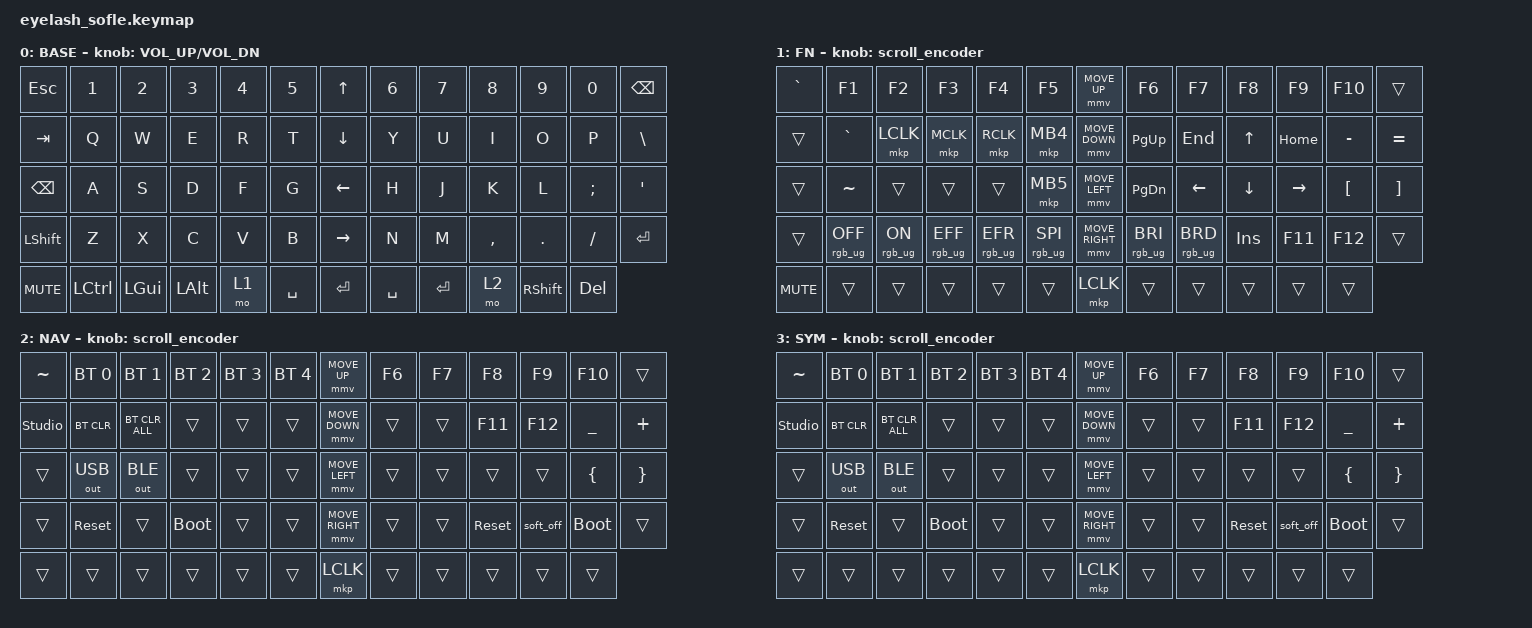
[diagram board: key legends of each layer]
#include <behaviors.dtsi>
#include <dt-bindings/zmk/bt.h>
#include <dt-bindings/zmk/keys.h>
#include <dt-bindings/zmk/mouse.h>
#include <dt-bindings/zmk/outputs.h>
#include <dt-bindings/zmk/rgb.h>

#include <input/processors.dtsi>

/*

   &mmv_input_listener {
       input-processors = <&zip_xy_scaler 2 1>;
   };

   &msc_input_listener {
       input-processors = <&zip_xy_scaler 2 1>;
   };

 */

#define ZMK_MOUSE_DEFAULT_MOVE_VAL 1200  // 600
#define ZMK_MOUSE_DEFAULT_SCRL_VAL 20    // 10


/ {
    behaviors {
        mmv {
            acceleration-exponent = <1>;      // 1
            time-to-max-speed-ms = <900>;    // 40
            delay-ms = <0>;                   // 0
        };

        msc {
            acceleration-exponent = <1>;      // 0
            time-to-max-speed-ms = <400>;      // 500
            delay-ms = <0>;                   //   10
        };

        hml: home_row_mod_left {
            compatible = "zmk,behavior-hold-tap";
            #binding-cells = <2>;
            flavor = "balanced";
            require-prior-idle-ms = <150>;
            tapping-term-ms = <280>;
            quick-tap-ms = <175>;
            bindings = <&kp>, <&kp>;
            hold-trigger-key-positions = <59 60 61 62 63 7 8 9 10 11 12 20 21 22 23 24 25 33 34 35 36 37 38 46 47 48 49 10 11 12 23 24 25 36 37 38 49 50 51 63>;
            hold-trigger-on-release;
        };
        hmr: home_row_mod_right {
            compatible = "zmk,behavior-hold-tap";
            #binding-cells = <2>;
            flavor = "balanced";
            require-prior-idle-ms = <150>;
            tapping-term-ms = <280>;
            quick-tap-ms = <175>;
            bindings = <&kp>, <&kp>;
            hold-trigger-key-positions = <0 1 2 3 4 5 13 14 15 16 17 18 26 27 28 29 30 31 39 40 41 42 43 44 53 54 55 56 57>;
            hold-trigger-on-release;
        };        
    };

    scroll_encoder: scroll_encoder {
        compatible = "zmk,behavior-sensor-rotate";
        #sensor-binding-cells = <0>;
        bindings = <&msc SCRL_DOWN>, <&msc SCRL_UP>;

        tap-ms = <30>;
    };

    keymap {
        compatible = "zmk,keymap";

        layer0 {
            bindings = <
&kp ESC     &kp N1     &kp N2        &kp N3        &kp N4  &kp N5       &kp UP_ARROW     &kp N6     &kp N7     &kp N8     &kp N9           &kp N0      &kp BACKSPACE
&kp TAB     &kp Q      &kp W         &kp E         &kp R   &kp T        &kp DOWN_ARROW   &kp Y      &kp U      &kp I      &kp O            &kp P       &kp BSLH
&kp BSPC    &kp A      &kp S         &kp D         &kp F   &kp G        &kp LEFT_ARROW   &kp H      &kp J      &kp K      &kp L            &kp SEMI    &kp APOS
&kp LSHFT   &kp Z      &kp X         &kp C         &kp V   &kp B        &kp RIGHT_ARROW  &kp N      &kp M      &kp COMMA  &kp DOT          &kp FSLH    &kp ENTER
&kp C_MUTE  &kp LCTRL  &kp LEFT_GUI  &kp LEFT_ALT  &mo 1   &kp SPACE    &kp ENTER        &kp SPACE  &kp ENTER  &mo 2      &kp RIGHT_SHIFT  &kp DELETE
            >;

            sensor-bindings = <&inc_dec_kp C_VOLUME_UP C_VOL_DN>;
            display-name = "BASE";
        };

        layer_1 {
            bindings = <
&kp GRAVE   &kp F1           &kp F2          &kp F3           &kp F4           &kp F5             &mmv MOVE_UP     &kp F6           &kp F7           &kp F8      &kp F9     &kp F10           &trans
&trans      &kp GRAVE        &mkp LCLK       &mkp MCLK        &mkp RCLK        &mkp MB4           &mmv MOVE_DOWN   &kp PG_UP        &kp END          &kp UP      &kp HOME   &kp MINUS         &kp EQUAL
&trans      &kp TILDE        &trans          &trans           &trans           &mkp MB5           &mmv MOVE_LEFT   &kp PG_DN        &kp LEFT         &kp DOWN    &kp RIGHT  &kp LEFT_BRACKET  &kp RIGHT_BRACKET
&trans      &rgb_ug RGB_OFF  &rgb_ug RGB_ON  &rgb_ug RGB_EFF  &rgb_ug RGB_EFR  &rgb_ug RGB_SPI    &mmv MOVE_RIGHT  &rgb_ug RGB_BRI  &rgb_ug RGB_BRD  &kp INSERT  &kp F11    &kp F12           &trans
&kp C_MUTE  &trans           &trans          &trans           &trans           &trans             &mkp LCLK        &trans           &trans           &trans      &trans     &trans
            >;

            display-name = "FN";
            sensor-bindings = <&scroll_encoder>;
        };

        layer_2 {
            bindings = <
&kp TILDE  &bt BT_SEL 0  &bt BT_SEL 1    &bt BT_SEL 2  &bt BT_SEL 3  &bt BT_SEL 4    &mmv MOVE_UP     &kp F6  &kp F7  &kp F8      &kp F9     &kp F10      &trans
&studio_unlock      &bt BT_CLR    &bt BT_CLR_ALL  &trans        &trans        &trans          &mmv MOVE_DOWN   &trans  &trans  &kp F11     &kp F12    &kp UNDER    &kp PLUS
&trans     &out OUT_USB  &out OUT_BLE    &trans        &trans        &trans          &mmv MOVE_LEFT   &trans  &trans  &trans      &trans     &kp LBRC     &kp RBRC
&trans     &sys_reset    &trans          &bootloader   &trans        &trans          &mmv MOVE_RIGHT  &trans  &trans  &sys_reset  &soft_off  &bootloader  &trans
&trans     &trans        &trans          &trans        &trans        &trans          &mkp LCLK        &trans  &trans  &trans      &trans     &trans
            >;

            display-name = "NAV";
            sensor-bindings = <&scroll_encoder>;
        };

        layer_3 {
            bindings = <
&kp TILDE  &bt BT_SEL 0  &bt BT_SEL 1    &bt BT_SEL 2  &bt BT_SEL 3  &bt BT_SEL 4    &mmv MOVE_UP     &kp F6  &kp F7  &kp F8      &kp F9     &kp F10      &trans
&studio_unlock      &bt BT_CLR    &bt BT_CLR_ALL  &trans        &trans        &trans          &mmv MOVE_DOWN   &trans  &trans  &kp F11     &kp F12    &kp UNDER    &kp PLUS
&trans     &out OUT_USB  &out OUT_BLE    &trans        &trans        &trans          &mmv MOVE_LEFT   &trans  &trans  &trans      &trans     &kp LBRC     &kp RBRC
&trans     &sys_reset    &trans          &bootloader   &trans        &trans          &mmv MOVE_RIGHT  &trans  &trans  &sys_reset  &soft_off  &bootloader  &trans
&trans     &trans        &trans          &trans        &trans        &trans          &mkp LCLK        &trans  &trans  &trans      &trans     &trans
            >;

            display-name = "SYM";
            sensor-bindings = <&scroll_encoder>;
        };        
    };
};
